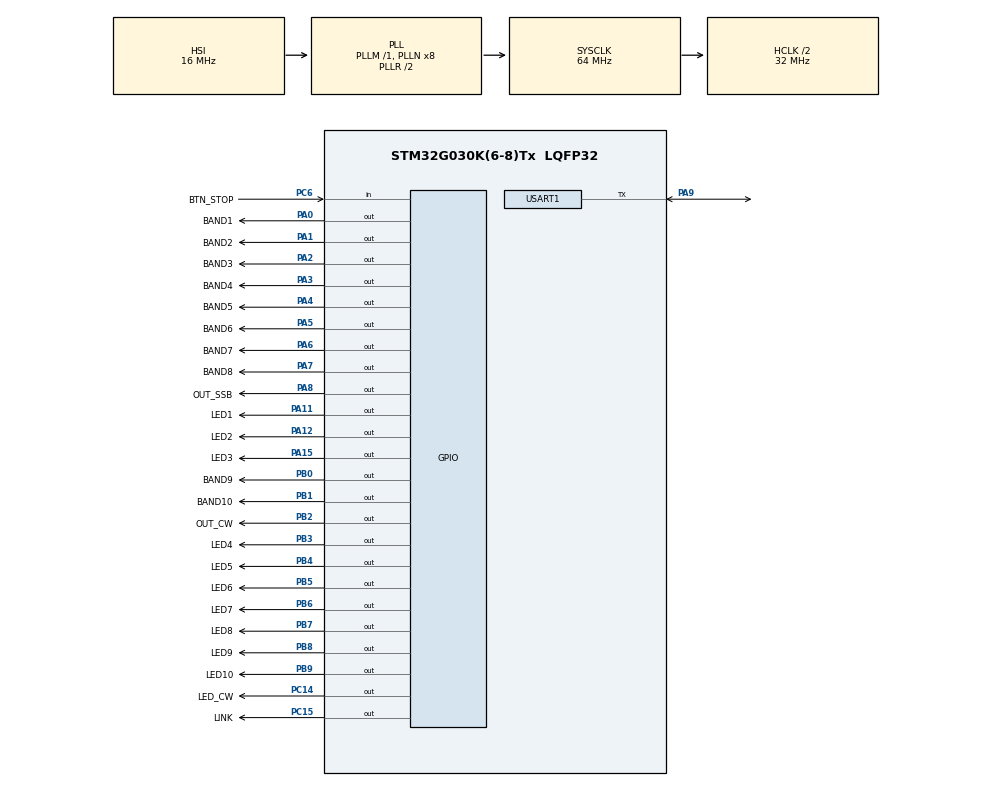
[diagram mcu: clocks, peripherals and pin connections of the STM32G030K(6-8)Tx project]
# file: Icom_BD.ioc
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Mcu.Family=STM32G0
Mcu.Name=STM32G030K(6-8)Tx
Mcu.Package=LQFP32
NVIC.TIM14_IRQn=true\:0\:0\:false\:false\:true\:true\:true\:true
NVIC.USART1_IRQn=true\:0\:0\:false\:false\:true\:true\:true\:true
PA0.GPIO_Label=BAND1
PA0.Signal=GPIO_Output
PA1.GPIO_Label=BAND2
PA1.Signal=GPIO_Output
PA11\ [PA9].GPIO_Label=LED1
PA11\ [PA9].Signal=GPIO_Output
PA12\ [PA10].GPIO_Label=LED2
PA12\ [PA10].Signal=GPIO_Output
PA13.Mode=Serial_Wire
PA13.Signal=SYS_SWDIO
PA14-BOOT0.Mode=Serial_Wire
PA14-BOOT0.Signal=SYS_SWCLK
PA15.GPIO_Label=LED3
PA15.Signal=GPIO_Output
PA2.GPIO_Label=BAND3
PA2.Signal=GPIO_Output
PA3.GPIO_Label=BAND4
PA3.Signal=GPIO_Output
PA4.GPIO_Label=BAND5
PA4.Signal=GPIO_Output
PA5.GPIO_Label=BAND6
PA5.Signal=GPIO_Output
PA6.GPIO_Label=BAND7
PA6.Signal=GPIO_Output
PA7.GPIO_Label=BAND8
PA7.Signal=GPIO_Output
PA8.GPIO_Label=OUT_SSB
PA8.Signal=GPIO_Output
PA9.Mode=Half_duplex(single_wire_mode)
PA9.Signal=USART1_TX
PB0.GPIO_Label=BAND9
PB0.Signal=GPIO_Output
PB1.GPIO_Label=BAND10
PB1.Signal=GPIO_Output
PB2.GPIO_Label=OUT_CW
PB2.Signal=GPIO_Output
PB3.GPIO_Label=LED4
PB3.Signal=GPIO_Output
PB4.GPIO_Label=LED5
PB4.Signal=GPIO_Output
PB5.GPIO_Label=LED6
PB5.Signal=GPIO_Output
PB6.GPIO_Label=LED7
PB6.Signal=GPIO_Output
PB7.GPIO_Label=LED8
PB7.Signal=GPIO_Output
PB8.GPIO_Label=LED9
PB8.Signal=GPIO_Output
PB9.GPIO_Label=LED10
PB9.Signal=GPIO_Output
PC14-OSC32_IN\ (PC14).GPIO_Label=LED_CW
PC14-OSC32_IN\ (PC14).Signal=GPIO_Output
PC15-OSC32_OUT\ (PC15).GPIO_Label=LINK
PC15-OSC32_OUT\ (PC15).Signal=GPIO_Output
PC6.GPIO_Label=BTN_STOP
PC6.GPIO_PuPd=GPIO_PULLUP
PC6.Signal=GPIO_Input
ProjectManager.HeapSize=0x200
ProjectManager.StackSize=0x400
ProjectManager.TargetToolchain=STM32CubeIDE
RCC.ADCFreq_Value=64000000
RCC.AHBCLKDivider=RCC_SYSCLK_DIV2
RCC.AHBFreq_Value=32000000
RCC.CortexFreq_Value=32000000
RCC.EXTERNAL_CLOCK_VALUE=12288000
RCC.HCLKFreq_Value=32000000
RCC.HSE_VALUE=8000000
RCC.HSI_VALUE=16000000
RCC.LSE_VALUE=32768
RCC.SYSCLKFreq_VALUE=64000000
RCC.SYSCLKSource=RCC_SYSCLKSOURCE_PLLCLK
RCC.VCOOutputFreq_Value=128000000
TIM14.AutoReloadPreload=TIM_AUTORELOAD_PRELOAD_ENABLE
TIM14.Period=499
TIM14.Prescaler=31999
USART1.BaudRate=19200
USART1.VirtualMode-Half_duplex(single_wire_mode)=VM_ASYNC
VP_TIM14_VS_ClockSourceINT.Mode=Enable_Timer
board=custom

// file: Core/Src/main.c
/* USER CODE BEGIN Header */
/**
  ******************************************************************************
  * @file           : main.c
  * @brief          : Main program body
  ******************************************************************************
  * @attention
  *
  * Copyright (c) 2023 STMicroelectronics.
  * All rights reserved.
  *
  * This software is licensed under terms that can be found in the LICENSE file
  * in the root directory of this software component.
  * If no LICENSE file comes with this software, it is provided AS-IS.
  *
  ******************************************************************************
  */
/* USER CODE END Header */
#include "main.h"

/* USER CODE BEGIN Includes */
#include "flash_storage.h"
#include "band_rules.h"
#include <string.h>

#define BAUD_RATE 19200

extern uint8_t cmd_buffer[256];
extern uint16_t cmd_index;
extern uint8_t cmd_ready;

// ===== ТАБЛИЦА ДИАПАЗОНОВ (кГц) =====
// верхняя граница НЕ включается
// нижняя граница включается
// C - CW
// P - PHONE
const band_rule_t band_rules_default[] = {

    {1800, 1840, 160, 'C'},
    {1840, 2000, 160, 'P'},

    {3500, 3600, 80, 'C'},
    {3600, 3800, 80, 'P'},

    {7000, 7050, 40, 'C'},
    {7050, 7200, 40, 'P'},

    {10100, 10150, 30, 'C'},

    {14000, 14110, 20, 'C'},
    {14110, 14350, 20, 'P'},

    {18068, 18110, 17, 'C'},
    {18110, 18168, 17, 'P'},

    {21000, 21110, 15, 'C'},
    {21110, 21450, 15, 'P'},

    {24890, 24920, 12, 'C'},
    {24920, 24990, 12, 'P'},

    {28000, 28300, 10, 'C'},
    {28300, 30000, 10, 'P'},

    {50000, 50200, 6, 'C'},
    {50200, 54000, 6, 'P'},

	{144000, 146000, 144, 'P'},
	{430000, 440000, 430, 'P'},
	{1240000, 1300000, 1200, 'P'},
	{2300000, 2450000, 2400, 'P'},
	{5650000, 5850000, 5000, 'P'},
	{10000000, 10500000, 10000, 'P'},
};

extern band_rule_t band_rules[];
extern uint8_t rules_count;

int flag_band=0;
char flag_mode=0;

/* USER CODE END Includes */

/* USER CODE BEGIN PM */

void led_blink_blocking(uint8_t times)
{
    for (uint8_t i = 0; i < times; i++) {

        LL_GPIO_SetOutputPin(LED_CW_GPIO_Port, LED_CW_Pin);
        HAL_Delay(100);

        LL_GPIO_ResetOutputPin(LED_CW_GPIO_Port, LED_CW_Pin);
        HAL_Delay(100);
    }
}

void process_uart_command(void)
{
    if (!cmd_ready) return;

    cmd_ready = 0;
    if (cmd_index < 4) {
        cmd_index = 0;
        led_blink_blocking(4);
        return;
    }
    if (cmd_buffer[0] != 0xAA) {
        cmd_index = 0;
        led_blink_blocking(4);
        return;
    }
    uint8_t count = cmd_buffer[1];
    if (count == 0 || count > MAX_RULES) {
        cmd_index = 0;
        led_blink_blocking(4);
        return;
    }
    uint16_t expected_size = 2 + count * 10 + 2;
    if (cmd_index != expected_size) {
        cmd_index = 0;
        led_blink_blocking(4);
        return;
    }

    if (cmd_buffer[cmd_index - 1] != 0x55) {
        cmd_index = 0;
        led_blink_blocking(4);
        return;
    }
    uint8_t crc = 0;
    for (uint16_t i = 0; i < cmd_index - 2; i++) {
        crc ^= cmd_buffer[i];
    }

    if (crc != cmd_buffer[cmd_index - 2]) {
        cmd_index = 0;
        led_blink_blocking(4);
        return;
    }
    band_rule_t new_rules[MAX_RULES];

    uint16_t offset = 2;

    for (uint8_t i = 0; i < count; i++) {
        new_rules[i].start_khz =
            (uint32_t)cmd_buffer[offset] |
            ((uint32_t)cmd_buffer[offset + 1] << 8) |
            ((uint32_t)cmd_buffer[offset + 2] << 16) |
            ((uint32_t)cmd_buffer[offset + 3] << 24);
        offset += 4;
        new_rules[i].end_khz =
            (uint32_t)cmd_buffer[offset] |
            ((uint32_t)cmd_buffer[offset + 1] << 8) |
            ((uint32_t)cmd_buffer[offset + 2] << 16) |
            ((uint32_t)cmd_buffer[offset + 3] << 24);
        offset += 4;
        new_rules[i].band = cmd_buffer[offset++];
        new_rules[i].mode = cmd_buffer[offset++];
    }
    if (!flash_save_rules(new_rules, count)) {
        cmd_index = 0;
        led_blink_blocking(4);
        return;
    }
    memcpy(band_rules, new_rules, count * sizeof(band_rule_t));
    rules_count = count;
    led_blink_blocking(2); // if OK
    cmd_index = 0;
}

void ResetOuts() {
	LL_GPIO_ResetOutputPin(BAND1_GPIO_Port, BAND1_Pin);
	LL_GPIO_ResetOutputPin(BAND2_GPIO_Port, BAND2_Pin);
	LL_GPIO_ResetOutputPin(BAND3_GPIO_Port, BAND3_Pin);
	LL_GPIO_ResetOutputPin(BAND4_GPIO_Port, BAND4_Pin);
	LL_GPIO_ResetOutputPin(BAND5_GPIO_Port, BAND5_Pin);
	LL_GPIO_ResetOutputPin(BAND6_GPIO_Port, BAND6_Pin);
	LL_GPIO_ResetOutputPin(BAND7_GPIO_Port, BAND7_Pin);
	LL_GPIO_ResetOutputPin(BAND8_GPIO_Port, BAND8_Pin);
	LL_GPIO_ResetOutputPin(BAND9_GPIO_Port, BAND9_Pin);
	LL_GPIO_ResetOutputPin(BAND10_GPIO_Port, BAND10_Pin);
}

void ResetLeds() {
	LL_GPIO_ResetOutputPin(LED1_GPIO_Port, LED1_Pin);
	LL_GPIO_ResetOutputPin(LED2_GPIO_Port, LED2_Pin);
	LL_GPIO_ResetOutputPin(LED3_GPIO_Port, LED3_Pin);
	LL_GPIO_ResetOutputPin(LED4_GPIO_Port, LED4_Pin);
	LL_GPIO_ResetOutputPin(LED5_GPIO_Port, LED5_Pin);
	LL_GPIO_ResetOutputPin(LED6_GPIO_Port, LED6_Pin);
	LL_GPIO_ResetOutputPin(LED7_GPIO_Port, LED7_Pin);
	LL_GPIO_ResetOutputPin(LED8_GPIO_Port, LED8_Pin);
	LL_GPIO_ResetOutputPin(LED9_GPIO_Port, LED9_Pin);
	LL_GPIO_ResetOutputPin(LED10_GPIO_Port, LED10_Pin);
}

void SetBand(int x){
	ResetOuts();
	switch (x){
	case 1: LL_GPIO_SetOutputPin(BAND1_GPIO_Port, BAND1_Pin); break;
	case 2: LL_GPIO_SetOutputPin(BAND2_GPIO_Port, BAND2_Pin); break;
	case 3: LL_GPIO_SetOutputPin(BAND3_GPIO_Port, BAND3_Pin); break;
	case 4: LL_GPIO_SetOutputPin(BAND4_GPIO_Port, BAND4_Pin); break;
	case 5: LL_GPIO_SetOutputPin(BAND5_GPIO_Port, BAND5_Pin); break;
	case 6: LL_GPIO_SetOutputPin(BAND6_GPIO_Port, BAND6_Pin); break;
	case 7: LL_GPIO_SetOutputPin(BAND7_GPIO_Port, BAND7_Pin); break;
	case 8: LL_GPIO_SetOutputPin(BAND8_GPIO_Port, BAND8_Pin); break;
	case 9: LL_GPIO_SetOutputPin(BAND9_GPIO_Port, BAND9_Pin); break;
	case 10: LL_GPIO_SetOutputPin(BAND10_GPIO_Port, BAND10_Pin); break;
	}
}

void SetLed(int x){
	ResetLeds();
	switch (x){
	case 1: LL_GPIO_SetOutputPin(LED1_GPIO_Port, LED1_Pin); break;
	case 2: LL_GPIO_SetOutputPin(LED2_GPIO_Port, LED2_Pin); break;
	case 3: LL_GPIO_SetOutputPin(LED3_GPIO_Port, LED3_Pin); break;
	case 4: LL_GPIO_SetOutputPin(LED4_GPIO_Port, LED4_Pin); break;
	case 5: LL_GPIO_SetOutputPin(LED5_GPIO_Port, LED5_Pin); break;
	case 6: LL_GPIO_SetOutputPin(LED6_GPIO_Port, LED6_Pin); break;
	case 7: LL_GPIO_SetOutputPin(LED7_GPIO_Port, LED7_Pin); break;
	case 8: LL_GPIO_SetOutputPin(LED8_GPIO_Port, LED8_Pin); break;
	case 9: LL_GPIO_SetOutputPin(LED9_GPIO_Port, LED9_Pin); break;
	case 10: LL_GPIO_SetOutputPin(LED10_GPIO_Port, LED10_Pin); break;
	}
}

void SetMode() {
	if (flag_mode == 'C') {
		LL_GPIO_SetOutputPin(OUT_CW_GPIO_Port, OUT_CW_Pin);
		LL_GPIO_ResetOutputPin(OUT_SSB_GPIO_Port, OUT_SSB_Pin);
		LL_GPIO_ResetOutputPin(LED_CW_GPIO_Port, LED_CW_Pin);
	}
	if (flag_mode == 'P') {
		LL_GPIO_ResetOutputPin(OUT_CW_GPIO_Port, OUT_CW_Pin);
		LL_GPIO_SetOutputPin(OUT_SSB_GPIO_Port, OUT_SSB_Pin);
		LL_GPIO_SetOutputPin(LED_CW_GPIO_Port, LED_CW_Pin);
	}
	if (flag_mode == 0) {
		LL_GPIO_ResetOutputPin(OUT_CW_GPIO_Port, OUT_CW_Pin);
		LL_GPIO_ResetOutputPin(OUT_SSB_GPIO_Port, OUT_SSB_Pin);
		LL_GPIO_ResetOutputPin(LED_CW_GPIO_Port, LED_CW_Pin);
	}
}

void SetOut(void) {
	if (flag_band == 160) {
		SetLed(1);
		SetBand(1);
	}
	if (flag_band == 80) {
		SetLed(2);
		SetBand(2);
	}
	if (flag_band == 40) {
		SetLed(3);
		SetBand(3);
	}
	if (flag_band == 30) {
		SetLed(4);
		SetBand(4);
	}
	if (flag_band == 20) {
		SetLed(5);
		SetBand(5);
	}
	if (flag_band == 17) {
		SetLed(6);
		SetBand(6);
	}
	if (flag_band == 15) {
		SetLed(7);
		SetBand(7);
	}
	if (flag_band == 12) {
		SetLed(8);
		SetBand(8);
	}
	if (flag_band == 10) {
		SetLed(9);
		SetBand(9);
	}
	if (flag_band == 6) {
		SetLed(10);
		SetBand(10);
	}
	if (flag_band == 0) {
		ResetLeds();
		ResetOuts();
	}
	if (flag_band == 144) {
			SetLed(1);
			SetBand(1);
		}
	if (flag_band == 430) {
			SetLed(2);
			SetBand(2);
		}
	if (flag_band == 1200) {
			SetLed(3);
			SetBand(3);
		}
	if (flag_band == 2400) {
			SetLed(4);
			SetBand(4);
		}
	if (flag_band == 5000) {
			SetLed(5);
			SetBand(5);
		}
	if (flag_band == 10000) {
			SetLed(6);
			SetBand(6);
		}

}

void SetOut_UN3M(void) {
	if (flag_band == 160) {
		SetLed(1);
		SetBand(1);
	}
	if (flag_band == 80) {
		SetLed(2);
		SetBand(2);
	}
	if (flag_band == 40) {
		SetLed(3);
		SetBand(3);
	}
	if (flag_band == 30) {
		SetLed(4);
		SetBand(4);
	}
	if (flag_band == 20) {
		SetLed(5);
		SetBand(5);
	}
	if (flag_band == 17) {
		SetLed(6);
		SetBand(6);
	}
	if (flag_band == 15) {
		SetLed(7);
		SetBand(7);
	}
	if (flag_band == 12) {
		SetLed(8);
		SetBand(8);
	}
	if (flag_band == 10) {
		SetLed(7);
		SetBand(7);
	}
	if (flag_band == 6) {
		SetLed(10);
		SetBand(10);
	}
	if (flag_band == 60) {
			SetLed(9);
			SetBand(9);
		}
	if (flag_band == 0) {
		ResetLeds();
		ResetOuts();
	}

}

/* USER CODE END PM */

void SystemClock_Config(void);
static void MX_GPIO_Init(void);
static void MX_USART1_UART_Init(void);
static void MX_TIM14_Init(void);

int main(void)
{

  /* MCU Configuration--------------------------------------------------------*/

  /* Reset of all peripherals, Initializes the Flash interface and the Systick. */
  HAL_Init();

  /* Configure the system clock */
  SystemClock_Config();

  /* Initialize all configured peripherals */
  MX_GPIO_Init();
  MX_USART1_UART_Init();
  MX_TIM14_Init();
  /* USER CODE BEGIN 2 */
  rules_count = flash_load_rules(band_rules, MAX_RULES);
  if (rules_count == 0) {
      memcpy(band_rules, band_rules_default, sizeof(band_rules_default));
      rules_count = sizeof(band_rules_default) / sizeof(band_rules_default[0]);

      flash_save_rules(band_rules, rules_count);
  }
  LL_TIM_EnableCounter(TIM14);
  LL_TIM_EnableIT_UPDATE(TIM14);
  LL_USART_EnableIT_RXNE(USART1);
  /* USER CODE END 2 */

  /* USER CODE BEGIN WHILE */
	while (1) {
		if (LL_GPIO_IsInputPinSet(BTN_STOP_GPIO_Port, BTN_STOP_Pin) == 1) {
			SetOut();
			SetMode();
		}
		process_uart_command();
		LL_mDelay(200);
		/* USER CODE END WHILE */

	}
}

void SystemClock_Config(void)
{
  RCC_OscInitTypeDef RCC_OscInitStruct = {0};
  RCC_ClkInitTypeDef RCC_ClkInitStruct = {0};

  /** Configure the main internal regulator output voltage
  */
  HAL_PWREx_ControlVoltageScaling(PWR_REGULATOR_VOLTAGE_SCALE1);

  /** Initializes the RCC Oscillators according to the specified parameters
  * in the RCC_OscInitTypeDef structure.
  */
  RCC_OscInitStruct.OscillatorType = RCC_OSCILLATORTYPE_HSI;
  RCC_OscInitStruct.HSIState = RCC_HSI_ON;
  RCC_OscInitStruct.HSIDiv = RCC_HSI_DIV1;
  RCC_OscInitStruct.HSICalibrationValue = RCC_HSICALIBRATION_DEFAULT;
  RCC_OscInitStruct.PLL.PLLState = RCC_PLL_ON;
  RCC_OscInitStruct.PLL.PLLSource = RCC_PLLSOURCE_HSI;
  RCC_OscInitStruct.PLL.PLLM = RCC_PLLM_DIV1;
  RCC_OscInitStruct.PLL.PLLN = 8;
  RCC_OscInitStruct.PLL.PLLP = RCC_PLLP_DIV2;
  RCC_OscInitStruct.PLL.PLLR = RCC_PLLR_DIV2;
  if (HAL_RCC_OscConfig(&RCC_OscInitStruct) != HAL_OK)
  {
    Error_Handler();
  }

  /** Initializes the CPU, AHB and APB buses clocks
  */
  RCC_ClkInitStruct.ClockType = RCC_CLOCKTYPE_HCLK|RCC_CLOCKTYPE_SYSCLK
                              |RCC_CLOCKTYPE_PCLK1;
  RCC_ClkInitStruct.SYSCLKSource = RCC_SYSCLKSOURCE_PLLCLK;
  RCC_ClkInitStruct.AHBCLKDivider = RCC_SYSCLK_DIV2;
  RCC_ClkInitStruct.APB1CLKDivider = RCC_HCLK_DIV1;

  if (HAL_RCC_ClockConfig(&RCC_ClkInitStruct, FLASH_LATENCY_1) != HAL_OK)
  {
    Error_Handler();
  }
}

static void MX_TIM14_Init(void)
{

  LL_TIM_InitTypeDef TIM_InitStruct = {0};

  /* Peripheral clock enable */
  LL_APB2_GRP1_EnableClock(LL_APB2_GRP1_PERIPH_TIM14);

  /* TIM14 interrupt Init */
  NVIC_SetPriority(TIM14_IRQn, 0);
  NVIC_EnableIRQ(TIM14_IRQn);

  TIM_InitStruct.Prescaler = 31999;
  TIM_InitStruct.CounterMode = LL_TIM_COUNTERMODE_UP;
  TIM_InitStruct.Autoreload = 499;
  TIM_InitStruct.ClockDivision = LL_TIM_CLOCKDIVISION_DIV1;
  LL_TIM_Init(TIM14, &TIM_InitStruct);
  LL_TIM_EnableARRPreload(TIM14);

}

static void MX_USART1_UART_Init(void)
{

  LL_USART_InitTypeDef USART_InitStruct = {0};

  LL_GPIO_InitTypeDef GPIO_InitStruct = {0};
  RCC_PeriphCLKInitTypeDef PeriphClkInit = {0};

  /** Initializes the peripherals clocks
  */
  PeriphClkInit.PeriphClockSelection = RCC_PERIPHCLK_USART1;
  PeriphClkInit.Usart1ClockSelection = RCC_USART1CLKSOURCE_PCLK1;
  if (HAL_RCCEx_PeriphCLKConfig(&PeriphClkInit) != HAL_OK)
  {
    Error_Handler();
  }

  /* Peripheral clock enable */
  LL_APB2_GRP1_EnableClock(LL_APB2_GRP1_PERIPH_USART1);

  LL_IOP_GRP1_EnableClock(LL_IOP_GRP1_PERIPH_GPIOA);
  /**USART1 GPIO Configuration
  PA9   ------> USART1_TX
  */
  GPIO_InitStruct.Pin = LL_GPIO_PIN_9;
  GPIO_InitStruct.Mode = LL_GPIO_MODE_ALTERNATE;
  GPIO_InitStruct.Speed = LL_GPIO_SPEED_FREQ_LOW;
  GPIO_InitStruct.OutputType = LL_GPIO_OUTPUT_OPENDRAIN;
  GPIO_InitStruct.Pull = LL_GPIO_PULL_UP;
  GPIO_InitStruct.Alternate = LL_GPIO_AF_1;
  LL_GPIO_Init(GPIOA, &GPIO_InitStruct);

  /* USART1 interrupt Init */
  NVIC_SetPriority(USART1_IRQn, 0);
  NVIC_EnableIRQ(USART1_IRQn);

  USART_InitStruct.PrescalerValue = LL_USART_PRESCALER_DIV1;
  USART_InitStruct.BaudRate = BAUD_RATE;
  USART_InitStruct.DataWidth = LL_USART_DATAWIDTH_8B;
  USART_InitStruct.StopBits = LL_USART_STOPBITS_1;
  USART_InitStruct.Parity = LL_USART_PARITY_NONE;
  USART_InitStruct.TransferDirection = LL_USART_DIRECTION_TX_RX;
  USART_InitStruct.OverSampling = LL_USART_OVERSAMPLING_16;
  LL_USART_Init(USART1, &USART_InitStruct);
  LL_USART_SetTXFIFOThreshold(USART1, LL_USART_FIFOTHRESHOLD_1_8);
  LL_USART_SetRXFIFOThreshold(USART1, LL_USART_FIFOTHRESHOLD_1_8);
  LL_USART_DisableFIFO(USART1);
  LL_USART_ConfigHalfDuplexMode(USART1);

  LL_USART_Enable(USART1);

  /* Polling USART1 initialisation */
  while((!(LL_USART_IsActiveFlag_TEACK(USART1))) || (!(LL_USART_IsActiveFlag_REACK(USART1))))
  {
  }

}

static void MX_GPIO_Init(void)
{
  LL_GPIO_InitTypeDef GPIO_InitStruct = {0};

  /* GPIO Ports Clock Enable */
  LL_IOP_GRP1_EnableClock(LL_IOP_GRP1_PERIPH_GPIOB);
  LL_IOP_GRP1_EnableClock(LL_IOP_GRP1_PERIPH_GPIOC);
  LL_IOP_GRP1_EnableClock(LL_IOP_GRP1_PERIPH_GPIOA);

  /**/
  LL_GPIO_ResetOutputPin(LED10_GPIO_Port, LED10_Pin);

  /**/
  LL_GPIO_ResetOutputPin(LED_CW_GPIO_Port, LED_CW_Pin);

  /**/
  LL_GPIO_ResetOutputPin(LINK_GPIO_Port, LINK_Pin);

  /**/
  LL_GPIO_ResetOutputPin(BAND1_GPIO_Port, BAND1_Pin);

  /**/
  LL_GPIO_ResetOutputPin(BAND2_GPIO_Port, BAND2_Pin);

  /**/
  LL_GPIO_ResetOutputPin(BAND3_GPIO_Port, BAND3_Pin);

  /**/
  LL_GPIO_ResetOutputPin(BAND4_GPIO_Port, BAND4_Pin);

  /**/
  LL_GPIO_ResetOutputPin(BAND5_GPIO_Port, BAND5_Pin);

  /**/
  LL_GPIO_ResetOutputPin(BAND6_GPIO_Port, BAND6_Pin);

  /**/
  LL_GPIO_ResetOutputPin(BAND7_GPIO_Port, BAND7_Pin);

  /**/
  LL_GPIO_ResetOutputPin(BAND8_GPIO_Port, BAND8_Pin);

  /**/
  LL_GPIO_ResetOutputPin(BAND9_GPIO_Port, BAND9_Pin);

  /**/
  LL_GPIO_ResetOutputPin(BAND10_GPIO_Port, BAND10_Pin);

  /**/
  LL_GPIO_ResetOutputPin(OUT_CW_GPIO_Port, OUT_CW_Pin);

  /**/
  LL_GPIO_ResetOutputPin(OUT_SSB_GPIO_Port, OUT_SSB_Pin);

  /**/
  LL_GPIO_ResetOutputPin(LED1_GPIO_Port, LED1_Pin);

  /**/
  LL_GPIO_ResetOutputPin(LED2_GPIO_Port, LED2_Pin);

  /**/
  LL_GPIO_ResetOutputPin(LED3_GPIO_Port, LED3_Pin);

  /**/
  LL_GPIO_ResetOutputPin(LED4_GPIO_Port, LED4_Pin);

  /**/
  LL_GPIO_ResetOutputPin(LED5_GPIO_Port, LED5_Pin);

  /**/
  LL_GPIO_ResetOutputPin(LED6_GPIO_Port, LED6_Pin);

  /**/
  LL_GPIO_ResetOutputPin(LED7_GPIO_Port, LED7_Pin);

  /**/
  LL_GPIO_ResetOutputPin(LED8_GPIO_Port, LED8_Pin);

  /**/
  LL_GPIO_ResetOutputPin(LED9_GPIO_Port, LED9_Pin);

  /**/
  GPIO_InitStruct.Pin = LED10_Pin;
  GPIO_InitStruct.Mode = LL_GPIO_MODE_OUTPUT;
  GPIO_InitStruct.Speed = LL_GPIO_SPEED_FREQ_LOW;
  GPIO_InitStruct.OutputType = LL_GPIO_OUTPUT_PUSHPULL;
  GPIO_InitStruct.Pull = LL_GPIO_PULL_NO;
  LL_GPIO_Init(LED10_GPIO_Port, &GPIO_InitStruct);

  /**/
  GPIO_InitStruct.Pin = LED_CW_Pin;
  GPIO_InitStruct.Mode = LL_GPIO_MODE_OUTPUT;
  GPIO_InitStruct.Speed = LL_GPIO_SPEED_FREQ_LOW;
  GPIO_InitStruct.OutputType = LL_GPIO_OUTPUT_PUSHPULL;
  GPIO_InitStruct.Pull = LL_GPIO_PULL_NO;
  LL_GPIO_Init(LED_CW_GPIO_Port, &GPIO_InitStruct);

  /**/
  GPIO_InitStruct.Pin = LINK_Pin;
  GPIO_InitStruct.Mode = LL_GPIO_MODE_OUTPUT;
  GPIO_InitStruct.Speed = LL_GPIO_SPEED_FREQ_LOW;
  GPIO_InitStruct.OutputType = LL_GPIO_OUTPUT_PUSHPULL;
  GPIO_InitStruct.Pull = LL_GPIO_PULL_NO;
  LL_GPIO_Init(LINK_GPIO_Port, &GPIO_InitStruct);

  /**/
  GPIO_InitStruct.Pin = BAND1_Pin;
  GPIO_InitStruct.Mode = LL_GPIO_MODE_OUTPUT;
  GPIO_InitStruct.Speed = LL_GPIO_SPEED_FREQ_LOW;
  GPIO_InitStruct.OutputType = LL_GPIO_OUTPUT_PUSHPULL;
  GPIO_InitStruct.Pull = LL_GPIO_PULL_NO;
  LL_GPIO_Init(BAND1_GPIO_Port, &GPIO_InitStruct);

  /**/
  GPIO_InitStruct.Pin = BAND2_Pin;
  GPIO_InitStruct.Mode = LL_GPIO_MODE_OUTPUT;
  GPIO_InitStruct.Speed = LL_GPIO_SPEED_FREQ_LOW;
  GPIO_InitStruct.OutputType = LL_GPIO_OUTPUT_PUSHPULL;
  GPIO_InitStruct.Pull = LL_GPIO_PULL_NO;
  LL_GPIO_Init(BAND2_GPIO_Port, &GPIO_InitStruct);

  /**/
  GPIO_InitStruct.Pin = BAND3_Pin;
  GPIO_InitStruct.Mode = LL_GPIO_MODE_OUTPUT;
  GPIO_InitStruct.Speed = LL_GPIO_SPEED_FREQ_LOW;
  GPIO_InitStruct.OutputType = LL_GPIO_OUTPUT_PUSHPULL;
  GPIO_InitStruct.Pull = LL_GPIO_PULL_NO;
  LL_GPIO_Init(BAND3_GPIO_Port, &GPIO_InitStruct);

  /**/
  GPIO_InitStruct.Pin = BAND4_Pin;
  GPIO_InitStruct.Mode = LL_GPIO_MODE_OUTPUT;
  GPIO_InitStruct.Speed = LL_GPIO_SPEED_FREQ_LOW;
  GPIO_InitStruct.OutputType = LL_GPIO_OUTPUT_PUSHPULL;
  GPIO_InitStruct.Pull = LL_GPIO_PULL_NO;
  LL_GPIO_Init(BAND4_GPIO_Port, &GPIO_InitStruct);

  /**/
  GPIO_InitStruct.Pin = BAND5_Pin;
  GPIO_InitStruct.Mode = LL_GPIO_MODE_OUTPUT;
  GPIO_InitStruct.Speed = LL_GPIO_SPEED_FREQ_LOW;
  GPIO_InitStruct.OutputType = LL_GPIO_OUTPUT_PUSHPULL;
  GPIO_InitStruct.Pull = LL_GPIO_PULL_NO;
  LL_GPIO_Init(BAND5_GPIO_Port, &GPIO_InitStruct);

  /**/
  GPIO_InitStruct.Pin = BAND6_Pin;
  GPIO_InitStruct.Mode = LL_GPIO_MODE_OUTPUT;
  GPIO_InitStruct.Speed = LL_GPIO_SPEED_FREQ_LOW;
  GPIO_InitStruct.OutputType = LL_GPIO_OUTPUT_PUSHPULL;
  GPIO_InitStruct.Pull = LL_GPIO_PULL_NO;
  LL_GPIO_Init(BAND6_GPIO_Port, &GPIO_InitStruct);

  /**/
  GPIO_InitStruct.Pin = BAND7_Pin;
  GPIO_InitStruct.Mode = LL_GPIO_MODE_OUTPUT;
  GPIO_InitStruct.Speed = LL_GPIO_SPEED_FREQ_LOW;
  GPIO_InitStruct.OutputType = LL_GPIO_OUTPUT_PUSHPULL;
  GPIO_InitStruct.Pull = LL_GPIO_PULL_NO;
  LL_GPIO_Init(BAND7_GPIO_Port, &GPIO_InitStruct);

  /**/
  GPIO_InitStruct.Pin = BAND8_Pin;
  GPIO_InitStruct.Mode = LL_GPIO_MODE_OUTPUT;
  GPIO_InitStruct.Speed = LL_GPIO_SPEED_FREQ_LOW;
  GPIO_InitStruct.OutputType = LL_GPIO_OUTPUT_PUSHPULL;
  GPIO_InitStruct.Pull = LL_GPIO_PULL_NO;
  LL_GPIO_Init(BAND8_GPIO_Port, &GPIO_InitStruct);

  /**/
  GPIO_InitStruct.Pin = BAND9_Pin;
  GPIO_InitStruct.Mode = LL_GPIO_MODE_OUTPUT;
  GPIO_InitStruct.Speed = LL_GPIO_SPEED_FREQ_LOW;
  GPIO_InitStruct.OutputType = LL_GPIO_OUTPUT_PUSHPULL;
  GPIO_InitStruct.Pull = LL_GPIO_PULL_NO;
  LL_GPIO_Init(BAND9_GPIO_Port, &GPIO_InitStruct);

  /**/
  GPIO_InitStruct.Pin = BAND10_Pin;
  GPIO_InitStruct.Mode = LL_GPIO_MODE_OUTPUT;
  GPIO_InitStruct.Speed = LL_GPIO_SPEED_FREQ_LOW;
  GPIO_InitStruct.OutputType = LL_GPIO_OUTPUT_PUSHPULL;
  GPIO_InitStruct.Pull = LL_GPIO_PULL_NO;
  LL_GPIO_Init(BAND10_GPIO_Port, &GPIO_InitStruct);

  /**/
  GPIO_InitStruct.Pin = OUT_CW_Pin;
  GPIO_InitStruct.Mode = LL_GPIO_MODE_OUTPUT;
  GPIO_InitStruct.Speed = LL_GPIO_SPEED_FREQ_LOW;
  GPIO_InitStruct.OutputType = LL_GPIO_OUTPUT_PUSHPULL;
  GPIO_InitStruct.Pull = LL_GPIO_PULL_NO;
  LL_GPIO_Init(OUT_CW_GPIO_Port, &GPIO_InitStruct);

  /**/
  GPIO_InitStruct.Pin = OUT_SSB_Pin;
  GPIO_InitStruct.Mode = LL_GPIO_MODE_OUTPUT;
  GPIO_InitStruct.Speed = LL_GPIO_SPEED_FREQ_LOW;
  GPIO_InitStruct.OutputType = LL_GPIO_OUTPUT_PUSHPULL;
  GPIO_InitStruct.Pull = LL_GPIO_PULL_NO;
  LL_GPIO_Init(OUT_SSB_GPIO_Port, &GPIO_InitStruct);

  /**/
  GPIO_InitStruct.Pin = BTN_STOP_Pin;
  GPIO_InitStruct.Mode = LL_GPIO_MODE_INPUT;
  GPIO_InitStruct.Pull = LL_GPIO_PULL_UP;
  LL_GPIO_Init(BTN_STOP_GPIO_Port, &GPIO_InitStruct);

  /**/
  GPIO_InitStruct.Pin = LED1_Pin;
  GPIO_InitStruct.Mode = LL_GPIO_MODE_OUTPUT;
  GPIO_InitStruct.Speed = LL_GPIO_SPEED_FREQ_LOW;
  GPIO_InitStruct.OutputType = LL_GPIO_OUTPUT_PUSHPULL;
  GPIO_InitStruct.Pull = LL_GPIO_PULL_NO;
  LL_GPIO_Init(LED1_GPIO_Port, &GPIO_InitStruct);

  /**/
  GPIO_InitStruct.Pin = LED2_Pin;
  GPIO_InitStruct.Mode = LL_GPIO_MODE_OUTPUT;
  GPIO_InitStruct.Speed = LL_GPIO_SPEED_FREQ_LOW;
  GPIO_InitStruct.OutputType = LL_GPIO_OUTPUT_PUSHPULL;
  GPIO_InitStruct.Pull = LL_GPIO_PULL_NO;
  LL_GPIO_Init(LED2_GPIO_Port, &GPIO_InitStruct);

  /**/
  GPIO_InitStruct.Pin = LED3_Pin;
  GPIO_InitStruct.Mode = LL_GPIO_MODE_OUTPUT;
  GPIO_InitStruct.Speed = LL_GPIO_SPEED_FREQ_LOW;
  GPIO_InitStruct.OutputType = LL_GPIO_OUTPUT_PUSHPULL;
  GPIO_InitStruct.Pull = LL_GPIO_PULL_NO;
  LL_GPIO_Init(LED3_GPIO_Port, &GPIO_InitStruct);

  /**/
  GPIO_InitStruct.Pin = LED4_Pin;
  GPIO_InitStruct.Mode = LL_GPIO_MODE_OUTPUT;
  GPIO_InitStruct.Speed = LL_GPIO_SPEED_FREQ_LOW;
  GPIO_InitStruct.OutputType = LL_GPIO_OUTPUT_PUSHPULL;
  GPIO_InitStruct.Pull = LL_GPIO_PULL_NO;
  LL_GPIO_Init(LED4_GPIO_Port, &GPIO_InitStruct);

  /**/
  GPIO_InitStruct.Pin = LED5_Pin;
  GPIO_InitStruct.Mode = LL_GPIO_MODE_OUTPUT;
  GPIO_InitStruct.Speed = LL_GPIO_SPEED_FREQ_LOW;
  GPIO_InitStruct.OutputType = LL_GPIO_OUTPUT_PUSHPULL;
  GPIO_InitStruct.Pull = LL_GPIO_PULL_NO;
  LL_GPIO_Init(LED5_GPIO_Port, &GPIO_InitStruct);

  /**/
  GPIO_InitStruct.Pin = LED6_Pin;
  GPIO_InitStruct.Mode = LL_GPIO_MODE_OUTPUT;
  GPIO_InitStruct.Speed = LL_GPIO_SPEED_FREQ_LOW;
  GPIO_InitStruct.OutputType = LL_GPIO_OUTPUT_PUSHPULL;
  GPIO_InitStruct.Pull = LL_GPIO_PULL_NO;
  LL_GPIO_Init(LED6_GPIO_Port, &GPIO_InitStruct);

  /**/
  GPIO_InitStruct.Pin = LED7_Pin;
  GPIO_InitStruct.Mode = LL_GPIO_MODE_OUTPUT;
  GPIO_InitStruct.Speed = LL_GPIO_SPEED_FREQ_LOW;
  GPIO_InitStruct.OutputType = LL_GPIO_OUTPUT_PUSHPULL;
  GPIO_InitStruct.Pull = LL_GPIO_PULL_NO;
  LL_GPIO_Init(LED7_GPIO_Port, &GPIO_InitStruct);

  /**/
  GPIO_InitStruct.Pin = LED8_Pin;
  GPIO_InitStruct.Mode = LL_GPIO_MODE_OUTPUT;
  GPIO_InitStruct.Speed = LL_GPIO_SPEED_FREQ_LOW;
  GPIO_InitStruct.OutputType = LL_GPIO_OUTPUT_PUSHPULL;
  GPIO_InitStruct.Pull = LL_GPIO_PULL_NO;
  LL_GPIO_Init(LED8_GPIO_Port, &GPIO_InitStruct);

  /**/
  GPIO_InitStruct.Pin = LED9_Pin;
  GPIO_InitStruct.Mode = LL_GPIO_MODE_OUTPUT;
  GPIO_InitStruct.Speed = LL_GPIO_SPEED_FREQ_LOW;
  GPIO_InitStruct.OutputType = LL_GPIO_OUTPUT_PUSHPULL;
  GPIO_InitStruct.Pull = LL_GPIO_PULL_NO;
  LL_GPIO_Init(LED9_GPIO_Port, &GPIO_InitStruct);

}

void Error_Handler(void)
{
  __disable_irq();
  while (1)
  {
  }
}
